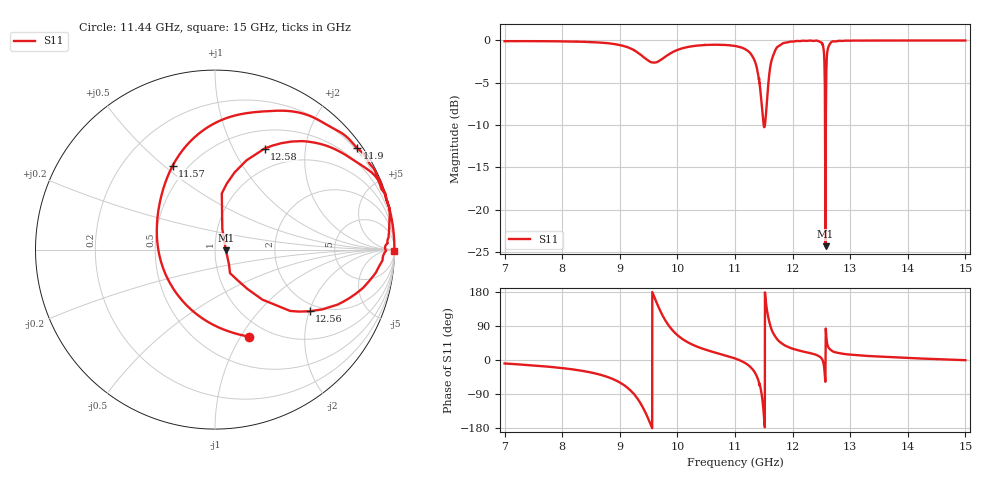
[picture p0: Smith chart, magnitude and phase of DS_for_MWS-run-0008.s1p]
! TOUCHSTONE file generated by CST DESIGN STUDIO
! Date and time: Mon Feb 10 16:57:16 2025
! Project name: C:\Work\MatlabApps\UnitCellType2OptimizationMatlab\CST\unitcell.cst
! Tree item: Tasks\Sweep1\SPara1\S-Parameters
! Header version: 2024
! Port assignment regex: !\s*Touchstone port\s*([0-9]+)\s*=\s*(CST MWS port|CST DES external port|CST DES block port)\s*(.+)\s* \(\"(.*)\"\)(\s*mode\s*([0-9]+))?.*
! Touchstone port assignment:
! Touchstone port 1 = CST DES external port 1 ("")
# GHz S MA R 50
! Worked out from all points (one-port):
!   4001 points, 7 GHz to 15 GHz, reference 50 ohm
!   lowest |S11| = -24.3 dB at 12.57 GHz (marker M1), VSWR 1.13, Z = 56.5 - j0.397 ohm
!   |S11| at or under -10 dB: 11.49748 GHz to 11.51928 GHz (21.81 MHz wide, 0.189 % of centre); 12.56329 GHz to 12.57603 GHz (12.74 MHz wide, 0.101 % of centre)
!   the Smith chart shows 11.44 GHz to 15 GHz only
!   S11 on the Smith chart (normalised r, x): 11.44 GHz: 0.81, -1.08; 11.57 GHz: 0.42, +0.53; 11.9 GHz: 0.15, +3.10; 12.56 GHz: 1.77, -2.01; 12.58 GHz: 0.72, +1.34; 15 GHz: open
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7  0.9897 -9.1
8  0.988 -21.4
8.628  0.9732 -37.5
9  0.9405 -59.3
9.324  0.8429 -105.6
9.434  0.7866 -135.1
9.554  0.7425 -176.9
9.76  0.7875 112.5
10  0.8787 65.7
10.38  0.9348 33.0
11  0.9281 4.1
11.284  0.8246 -21.0
11.436  0.5208 -69.0
11.512  0.3081 -166.8
11.572  0.5227 116.9
11.668  0.8235 69.5
11.904  0.973 35.7
12  0.9847 29.8
12.488  0.9771 6.8
12.532  0.9184 -5.9
12.556  0.6291 -33.1
12.572  0.06077 -3.3
12.584  0.627 63.9
12.616  0.9036 35.1
12.684  0.9847 24.1
13  0.9966 14.2
14  0.9989 5.3
15  0.9995 -0.5
